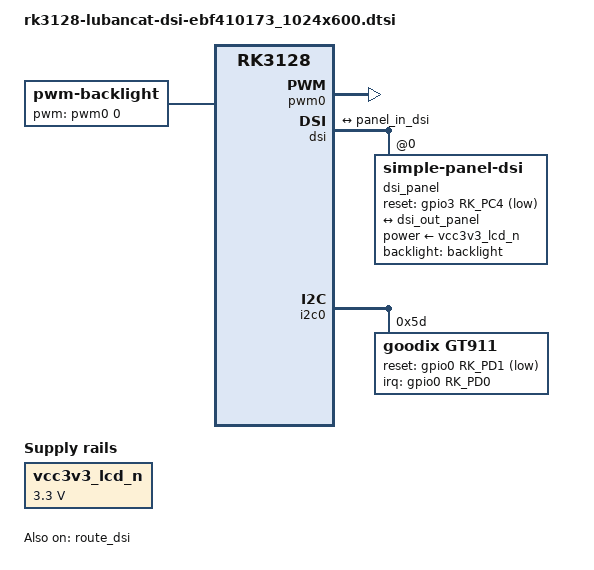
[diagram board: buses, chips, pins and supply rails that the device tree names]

/ {
	vcc3v3_lcd_n: vcc3v3-lcd-n {
		compatible = "regulator-fixed";
		regulator-name = "vcc3v3_lcd_n";
		regulator-min-microvolt = <3300000>;
		regulator-max-microvolt = <3300000>;
		enable-active-high;
		regulator-boot-on;
	};

	backlight: backlight {
		compatible = "pwm-backlight";
		pwms = <&pwm0 0 50000 0>;
		brightness-levels = <
			 95  95  95  95  95  95  95  95
			 95  95  95  95  95  95  95  95
			 95  95  95  95  95  95  95  95
			 95  95  95  95  95  95  95  95
			 95  95  95  95  95  95  95  95
			 95  95  95  95  95  95  95  95
			 95  95  95  95  95  95  95  95
			 95  95  95  95  95  95  95  95
			 95  95  95  95  95  95  95  95
			 95  95  95  95  95  95  95  95
			 95  95  95  95  95  95  95  95
			 88  89  90  91  92  93  94  95
			 96  97  98  99 100 101 102 103
			104 105 106 107 108 109 110 111
			112 113 114 115 116 117 118 119
			120 121 122 123 124 125 126 127
			128 129 130 131 132 133 134 135
			136 137 138 139 140 141 142 143
			144 145 146 147 148 149 150 151
			152 153 154 155 156 157 158 159
			160 161 162 163 164 165 166 167
			168 169 170 171 172 173 174 175
			176 177 178 179 180 181 182 183
			184 185 186 187 188 189 190 191
			192 193 194 195 196 197 198 199
			200 201 202 203 204 205 206 207
			208 209 210 211 212 213 214 215
			216 217 218 219 220 221 222 223
			224 225 226 227 228 229 230 231
			232 233 234 235 236 237 238 239
			240 241 242 243 244 245 246 247
			248 249 250 251 252 253 254 255>;
		default-brightness-level = <200>;
	};
};

&pwm0 {
	status = "okay";
};

&dsi {
	status = "okay";
	dsi_panel: panel@0 {
		compatible = "simple-panel-dsi";
		reg = <0>;
		backlight = <&backlight>;
		power-supply = <&vcc3v3_lcd_n>;
		reset-gpios = <&gpio3 RK_PC4 GPIO_ACTIVE_LOW>;

		enable-delay-ms = <35>;
		prepare-delay-ms = <6>;
		reset-delay-ms = <0>;
		init-delay-ms = <20>;
		unprepare-delay-ms = <0>;
		disable-delay-ms = <20>;

		size,width = <74>;
		size,height = <133>;

		dsi,flags = <(MIPI_DSI_MODE_VIDEO | MIPI_DSI_MODE_VIDEO_BURST | MIPI_DSI_MODE_LPM | MIPI_DSI_MODE_EOT_PACKET)>;
		dsi,format = <MIPI_DSI_FMT_RGB888>;
		dsi,lanes  = <4>;

		panel-init-sequence = [
			15 00 02 80 AC
			15 00 02 81 B8
			15 00 02 82 09
			15 00 02 83 78
			15 00 02 84 7F
			15 00 02 85 BB
			15 00 02 86 70
			05 C8 01 11
			05 C8 01 29
		];

		panel-exit-sequence = [
			05 78 01 28
			05 00 01 10
		];

		display-timings {
			native-mode = <&timing0>;
			timing0: timing0 {
				clock-frequency = <51668640>;
				hactive = <1024>;
				vactive = <600>;
				hsync-len = <10>;
				hback-porch = <160>;
				hfront-porch = <160>;
				vsync-len = <1>;
				vback-porch = <23>;
				vfront-porch = <12>;
				hsync-active = <0>;
				vsync-active = <0>;
				de-active = <0>;
				pixelclk-active = <0>;
			};
		};

		ports {
			#address-cells = <1>;
			#size-cells = <0>;
			port@0 {
				reg = <0>;
				panel_in_dsi: endpoint {
					remote-endpoint = <&dsi_out_panel>;
				};
			};
		};
	};

	ports {
		#address-cells = <1>;
		#size-cells = <0>;

		port@1 {
			reg = <1>;
			dsi_out_panel: endpoint {
				remote-endpoint = <&panel_in_dsi>;
			};
		};
	};
};

&route_dsi{
	status = "okay";
};

&i2c0 {
	status = "okay";

	gt911: gt911@5d {
		status = "okay";
		compatible = "goodix,gt911";
		reg = <0x5d>;
		interrupt-parent = <&gpio0>;
		interrupts = <RK_PD0 IRQ_TYPE_LEVEL_LOW>;
		reset-gpios = <&gpio0 RK_PD1 GPIO_ACTIVE_LOW>;
		irq-gpios = <&gpio0 RK_PD0 GPIO_ACTIVE_HIGH>;
		touchscreen-inverted-x = <1>;
		touchscreen-inverted-y = <1>;
	};
};
